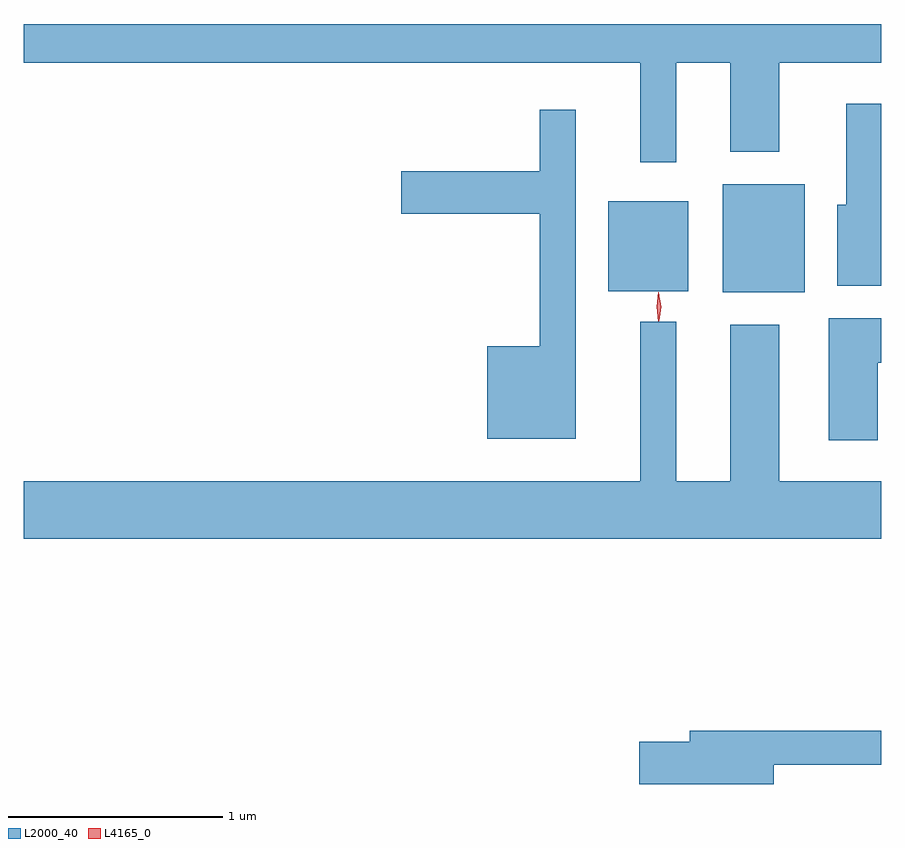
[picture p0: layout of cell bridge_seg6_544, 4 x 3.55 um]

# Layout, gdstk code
import gdstk
lib = gdstk.Library(unit=1e-6, precision=1e-09)
def R(c, l, rs):  # rectangles x0, y0, x1, y1
    for r in rs: c.add(gdstk.rectangle(r[:2], r[2:], *l))
def P(c, l, *ps):  # polygons
    for p in ps: c.add(gdstk.Polygon(p, *l))
L2000_40 = (2000, 40)
L4165_0 = (4165, 0)

bridge_seg6_544 = lib.new_cell('bridge_seg6_544')
R(bridge_seg6_544, L2000_40, [(433.216,1648.866,433.599,1649.369), (432.681,1648.871,433.054,1649.289)])
P(bridge_seg6_544, L2000_40, [(432.999,1649.936),(433.251,1649.936),(433.251,1649.521),(433.479,1649.521),(433.479,1649.936),(433.955,1649.936),(433.955,1650.117),(429.955,1650.117),(429.955,1649.936),(432.831,1649.936),(432.831,1649.473),(432.999,1649.473)],
  [(433.955,1649.744),(433.791,1649.744),(433.791,1649.274),(433.751,1649.274),(433.751,1648.896),(433.955,1648.896)],
  [(432.529,1649.718),(432.361,1649.718),(432.361,1649.429),(431.716,1649.429),(431.716,1649.231),(432.361,1649.231),(432.361,1648.614),(432.116,1648.614),(432.116,1648.181),(432.529,1648.181)],
  [(433.939,1648.536),(433.955,1648.536),(433.955,1648.744),(433.711,1648.744),(433.711,1648.176),(433.939,1648.176)],
  [(433.955,1647.984),(433.479,1647.984),(433.479,1648.714),(433.251,1648.714),(433.251,1647.984),(432.999,1647.984),(432.999,1648.728),(432.831,1648.728),(432.831,1647.984),(429.955,1647.984),(429.955,1647.716),(433.955,1647.716)],
  [(433.454,1646.661),(433.955,1646.661),(433.955,1646.819),(433.061,1646.819),(433.061,1646.769),(432.826,1646.769),(432.826,1646.571),(433.454,1646.571)])
P(bridge_seg6_544, L4165_0, [(432.918,1648.733),(432.918,1648.733),(432.908,1648.798),(432.917,1648.861),(432.917,1648.862),(432.918,1648.861),(432.928,1648.798),(432.919,1648.733)],
  [(432.916,1648.73),(432.907,1648.798),(432.916,1648.866),(432.917,1648.866),(432.917,1648.866),(432.927,1648.798),(432.917,1648.73),(432.917,1648.73)])

lib.write_gds('bridge_seg6_544.gds')
